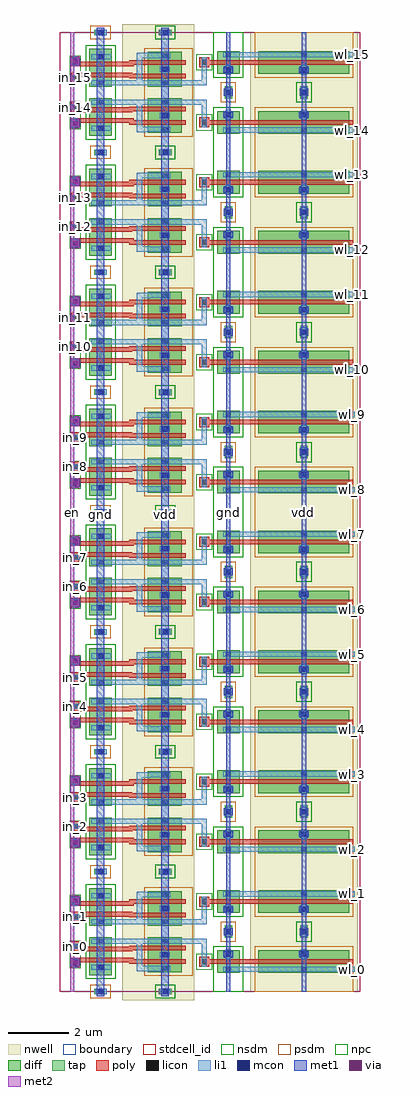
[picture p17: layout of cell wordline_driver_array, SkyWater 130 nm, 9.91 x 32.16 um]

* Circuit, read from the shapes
.subckt wordline_driver_array en gnd in_0 in_1 in_10 in_11 in_12 in_13 in_14 in_15 in_2 in_3 in_4 in_5 in_6 in_7 in_8 in_9 vdd wl_0 wl_1 wl_10 wl_11 wl_12 wl_13 wl_14 wl_15 wl_2 wl_3 wl_4 wl_5 wl_6 wl_7 wl_8 wl_9
XM1 n1 en gnd gnd sky130_fd_pr__nfet_01v8 w=0.74 l=0.15
XM2 wordline_driver_0/pinv_dec_0_1/A in_0 n1 gnd sky130_fd_pr__nfet_01v8 w=0.74 l=0.15
XM3 n2 in_1 wordline_driver_1/pinv_dec_0_1/A gnd sky130_fd_pr__nfet_01v8 w=0.74 l=0.15
XM4 gnd en n2 gnd sky130_fd_pr__nfet_01v8 w=0.74 l=0.15
XM5 n3 en gnd gnd sky130_fd_pr__nfet_01v8 w=0.74 l=0.15
XM6 wordline_driver_2/pinv_dec_0_1/A in_2 n3 gnd sky130_fd_pr__nfet_01v8 w=0.74 l=0.15
XM7 n4 in_3 wordline_driver_3/pinv_dec_0_1/A gnd sky130_fd_pr__nfet_01v8 w=0.74 l=0.15
XM8 gnd en n4 gnd sky130_fd_pr__nfet_01v8 w=0.74 l=0.15
XM9 n5 en gnd gnd sky130_fd_pr__nfet_01v8 w=0.74 l=0.15
XM10 wordline_driver_4/pinv_dec_0_1/A in_4 n5 gnd sky130_fd_pr__nfet_01v8 w=0.74 l=0.15
XM11 n6 in_5 wordline_driver_5/pinv_dec_0_1/A gnd sky130_fd_pr__nfet_01v8 w=0.74 l=0.15
XM12 gnd en n6 gnd sky130_fd_pr__nfet_01v8 w=0.74 l=0.15
XM13 n7 en gnd gnd sky130_fd_pr__nfet_01v8 w=0.74 l=0.15
XM14 wordline_driver_6/pinv_dec_0_1/A in_6 n7 gnd sky130_fd_pr__nfet_01v8 w=0.74 l=0.15
XM15 n8 in_7 wordline_driver_7/pinv_dec_0_1/A gnd sky130_fd_pr__nfet_01v8 w=0.74 l=0.15
XM16 gnd en n8 gnd sky130_fd_pr__nfet_01v8 w=0.74 l=0.15
XM17 n9 en gnd gnd sky130_fd_pr__nfet_01v8 w=0.74 l=0.15
XM18 wordline_driver_8/pinv_dec_0_1/A in_8 n9 gnd sky130_fd_pr__nfet_01v8 w=0.74 l=0.15
XM19 n10 in_9 wordline_driver_9/pinv_dec_0_1/A gnd sky130_fd_pr__nfet_01v8 w=0.74 l=0.15
XM20 gnd en n10 gnd sky130_fd_pr__nfet_01v8 w=0.74 l=0.15
XM21 n11 en gnd gnd sky130_fd_pr__nfet_01v8 w=0.74 l=0.15
XM22 wordline_driver_10/pinv_dec_0_1/A in_10 n11 gnd sky130_fd_pr__nfet_01v8 w=0.74 l=0.15
XM23 n12 in_11 wordline_driver_11/pinv_dec_0_1/A gnd sky130_fd_pr__nfet_01v8 w=0.74 l=0.15
XM24 gnd en n12 gnd sky130_fd_pr__nfet_01v8 w=0.74 l=0.15
XM25 n13 en gnd gnd sky130_fd_pr__nfet_01v8 w=0.74 l=0.15
XM26 wordline_driver_12/pinv_dec_0_1/A in_12 n13 gnd sky130_fd_pr__nfet_01v8 w=0.74 l=0.15
XM27 n14 in_13 wordline_driver_13/pinv_dec_0_1/A gnd sky130_fd_pr__nfet_01v8 w=0.74 l=0.15
XM28 gnd en n14 gnd sky130_fd_pr__nfet_01v8 w=0.74 l=0.15
XM29 n15 en gnd gnd sky130_fd_pr__nfet_01v8 w=0.74 l=0.15
XM30 wordline_driver_14/pinv_dec_0_1/A in_14 n15 gnd sky130_fd_pr__nfet_01v8 w=0.74 l=0.15
XM31 n16 in_15 wordline_driver_15/pinv_dec_0_1/A gnd sky130_fd_pr__nfet_01v8 w=0.74 l=0.15
XM32 gnd en n16 gnd sky130_fd_pr__nfet_01v8 w=0.74 l=0.15
XM33 gnd wordline_driver_0/pinv_dec_0_1/A wl_0 gnd sky130_fd_pr__nfet_01v8 w=0.74 l=0.15
XM34 wl_1 wordline_driver_1/pinv_dec_0_1/A gnd gnd sky130_fd_pr__nfet_01v8 w=0.74 l=0.15
XM35 gnd wordline_driver_2/pinv_dec_0_1/A wl_2 gnd sky130_fd_pr__nfet_01v8 w=0.74 l=0.15
XM36 wl_3 wordline_driver_3/pinv_dec_0_1/A gnd gnd sky130_fd_pr__nfet_01v8 w=0.74 l=0.15
XM37 gnd wordline_driver_4/pinv_dec_0_1/A wl_4 gnd sky130_fd_pr__nfet_01v8 w=0.74 l=0.15
XM38 wl_5 wordline_driver_5/pinv_dec_0_1/A gnd gnd sky130_fd_pr__nfet_01v8 w=0.74 l=0.15
XM39 gnd wordline_driver_6/pinv_dec_0_1/A wl_6 gnd sky130_fd_pr__nfet_01v8 w=0.74 l=0.15
XM40 wl_7 wordline_driver_7/pinv_dec_0_1/A gnd gnd sky130_fd_pr__nfet_01v8 w=0.74 l=0.15
XM41 gnd wordline_driver_8/pinv_dec_0_1/A wl_8 gnd sky130_fd_pr__nfet_01v8 w=0.74 l=0.15
XM42 wl_9 wordline_driver_9/pinv_dec_0_1/A gnd gnd sky130_fd_pr__nfet_01v8 w=0.74 l=0.15
XM43 gnd wordline_driver_10/pinv_dec_0_1/A wl_10 gnd sky130_fd_pr__nfet_01v8 w=0.74 l=0.15
XM44 wl_11 wordline_driver_11/pinv_dec_0_1/A gnd gnd sky130_fd_pr__nfet_01v8 w=0.74 l=0.15
XM45 gnd wordline_driver_12/pinv_dec_0_1/A wl_12 gnd sky130_fd_pr__nfet_01v8 w=0.74 l=0.15
XM46 wl_13 wordline_driver_13/pinv_dec_0_1/A gnd gnd sky130_fd_pr__nfet_01v8 w=0.74 l=0.15
XM47 gnd wordline_driver_14/pinv_dec_0_1/A wl_14 gnd sky130_fd_pr__nfet_01v8 w=0.74 l=0.15
XM48 wl_15 wordline_driver_15/pinv_dec_0_1/A gnd gnd sky130_fd_pr__nfet_01v8 w=0.74 l=0.15
XM49 vdd en wordline_driver_0/pinv_dec_0_1/A vdd sky130_fd_pr__pfet_01v8 w=1.12 l=0.15
XM50 wordline_driver_0/pinv_dec_0_1/A in_0 vdd vdd sky130_fd_pr__pfet_01v8 w=1.12 l=0.15
XM51 vdd in_1 wordline_driver_1/pinv_dec_0_1/A vdd sky130_fd_pr__pfet_01v8 w=1.12 l=0.15
XM52 wordline_driver_1/pinv_dec_0_1/A en vdd vdd sky130_fd_pr__pfet_01v8 w=1.12 l=0.15
XM53 vdd en wordline_driver_2/pinv_dec_0_1/A vdd sky130_fd_pr__pfet_01v8 w=1.12 l=0.15
XM54 wordline_driver_2/pinv_dec_0_1/A in_2 vdd vdd sky130_fd_pr__pfet_01v8 w=1.12 l=0.15
XM55 vdd in_3 wordline_driver_3/pinv_dec_0_1/A vdd sky130_fd_pr__pfet_01v8 w=1.12 l=0.15
XM56 wordline_driver_3/pinv_dec_0_1/A en vdd vdd sky130_fd_pr__pfet_01v8 w=1.12 l=0.15
XM57 vdd en wordline_driver_4/pinv_dec_0_1/A vdd sky130_fd_pr__pfet_01v8 w=1.12 l=0.15
XM58 wordline_driver_4/pinv_dec_0_1/A in_4 vdd vdd sky130_fd_pr__pfet_01v8 w=1.12 l=0.15
XM59 vdd in_5 wordline_driver_5/pinv_dec_0_1/A vdd sky130_fd_pr__pfet_01v8 w=1.12 l=0.15
XM60 wordline_driver_5/pinv_dec_0_1/A en vdd vdd sky130_fd_pr__pfet_01v8 w=1.12 l=0.15
XM61 vdd en wordline_driver_6/pinv_dec_0_1/A vdd sky130_fd_pr__pfet_01v8 w=1.12 l=0.15
XM62 wordline_driver_6/pinv_dec_0_1/A in_6 vdd vdd sky130_fd_pr__pfet_01v8 w=1.12 l=0.15
XM63 vdd in_7 wordline_driver_7/pinv_dec_0_1/A vdd sky130_fd_pr__pfet_01v8 w=1.12 l=0.15
XM64 wordline_driver_7/pinv_dec_0_1/A en vdd vdd sky130_fd_pr__pfet_01v8 w=1.12 l=0.15
XM65 vdd en wordline_driver_8/pinv_dec_0_1/A vdd sky130_fd_pr__pfet_01v8 w=1.12 l=0.15
XM66 wordline_driver_8/pinv_dec_0_1/A in_8 vdd vdd sky130_fd_pr__pfet_01v8 w=1.12 l=0.15
XM67 vdd in_9 wordline_driver_9/pinv_dec_0_1/A vdd sky130_fd_pr__pfet_01v8 w=1.12 l=0.15
XM68 wordline_driver_9/pinv_dec_0_1/A en vdd vdd sky130_fd_pr__pfet_01v8 w=1.12 l=0.15
XM69 vdd en wordline_driver_10/pinv_dec_0_1/A vdd sky130_fd_pr__pfet_01v8 w=1.12 l=0.15
XM70 wordline_driver_10/pinv_dec_0_1/A in_10 vdd vdd sky130_fd_pr__pfet_01v8 w=1.12 l=0.15
XM71 vdd in_11 wordline_driver_11/pinv_dec_0_1/A vdd sky130_fd_pr__pfet_01v8 w=1.12 l=0.15
XM72 wordline_driver_11/pinv_dec_0_1/A en vdd vdd sky130_fd_pr__pfet_01v8 w=1.12 l=0.15
XM73 vdd en wordline_driver_12/pinv_dec_0_1/A vdd sky130_fd_pr__pfet_01v8 w=1.12 l=0.15
XM74 wordline_driver_12/pinv_dec_0_1/A in_12 vdd vdd sky130_fd_pr__pfet_01v8 w=1.12 l=0.15
XM75 vdd in_13 wordline_driver_13/pinv_dec_0_1/A vdd sky130_fd_pr__pfet_01v8 w=1.12 l=0.15
XM76 wordline_driver_13/pinv_dec_0_1/A en vdd vdd sky130_fd_pr__pfet_01v8 w=1.12 l=0.15
XM77 vdd en wordline_driver_14/pinv_dec_0_1/A vdd sky130_fd_pr__pfet_01v8 w=1.12 l=0.15
XM78 wordline_driver_14/pinv_dec_0_1/A in_14 vdd vdd sky130_fd_pr__pfet_01v8 w=1.12 l=0.15
XM79 vdd in_15 wordline_driver_15/pinv_dec_0_1/A vdd sky130_fd_pr__pfet_01v8 w=1.12 l=0.15
XM80 wordline_driver_15/pinv_dec_0_1/A en vdd vdd sky130_fd_pr__pfet_01v8 w=1.12 l=0.15
XM81 vdd wordline_driver_0/pinv_dec_0_1/A wl_0 vdd sky130_fd_pr__pfet_01v8 w=3 l=0.15
XM82 wl_1 wordline_driver_1/pinv_dec_0_1/A vdd vdd sky130_fd_pr__pfet_01v8 w=3 l=0.15
XM83 vdd wordline_driver_2/pinv_dec_0_1/A wl_2 vdd sky130_fd_pr__pfet_01v8 w=3 l=0.15
XM84 wl_3 wordline_driver_3/pinv_dec_0_1/A vdd vdd sky130_fd_pr__pfet_01v8 w=3 l=0.15
XM85 vdd wordline_driver_4/pinv_dec_0_1/A wl_4 vdd sky130_fd_pr__pfet_01v8 w=3 l=0.15
XM86 wl_5 wordline_driver_5/pinv_dec_0_1/A vdd vdd sky130_fd_pr__pfet_01v8 w=3 l=0.15
XM87 vdd wordline_driver_6/pinv_dec_0_1/A wl_6 vdd sky130_fd_pr__pfet_01v8 w=3 l=0.15
XM88 wl_7 wordline_driver_7/pinv_dec_0_1/A vdd vdd sky130_fd_pr__pfet_01v8 w=3 l=0.15
XM89 vdd wordline_driver_8/pinv_dec_0_1/A wl_8 vdd sky130_fd_pr__pfet_01v8 w=3 l=0.15
XM90 wl_9 wordline_driver_9/pinv_dec_0_1/A vdd vdd sky130_fd_pr__pfet_01v8 w=3 l=0.15
XM91 vdd wordline_driver_10/pinv_dec_0_1/A wl_10 vdd sky130_fd_pr__pfet_01v8 w=3 l=0.15
XM92 wl_11 wordline_driver_11/pinv_dec_0_1/A vdd vdd sky130_fd_pr__pfet_01v8 w=3 l=0.15
XM93 vdd wordline_driver_12/pinv_dec_0_1/A wl_12 vdd sky130_fd_pr__pfet_01v8 w=3 l=0.15
XM94 wl_13 wordline_driver_13/pinv_dec_0_1/A vdd vdd sky130_fd_pr__pfet_01v8 w=3 l=0.15
XM95 vdd wordline_driver_14/pinv_dec_0_1/A wl_14 vdd sky130_fd_pr__pfet_01v8 w=3 l=0.15
XM96 wl_15 wordline_driver_15/pinv_dec_0_1/A vdd vdd sky130_fd_pr__pfet_01v8 w=3 l=0.15
.ends

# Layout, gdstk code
from math import pi, radians
import gdstk
lib = gdstk.Library(unit=1e-6, precision=1e-09)
def R(c, l, rs):  # rectangles x0, y0, x1, y1
    for r in rs: c.add(gdstk.rectangle(r[:2], r[2:], *l))
nwell = (64, 20)
diff = (65, 20)
tap = (65, 44)
poly = (66, 20)
licon = (66, 44)
li1 = (67, 20)
mcon = (67, 44)
met1 = (68, 20)
via = (68, 44)
met2 = (69, 20)
stdcell_id = (81, 4)
nsdm = (93, 44)
psdm = (94, 20)
npc = (95, 20)
boundary = (235, 4)

nand2_dec = lib.new_cell('nand2_dec')
R(nand2_dec, nwell, [(2.06,-0.28,4.44,2.38)])
R(nand2_dec, diff, [(0.98,0.54,1.72,1.78), (2.91,0.64,4.03,1.78)])
R(nand2_dec, tap, [(3.27,-0.095,3.69,0.095), (1.14,-0.09,1.56,0.09)])
R(nand2_dec, poly, [(0.38,0.79,0.65,0.97), (2.29,0.91,4.16,0.97), (0.38,0.97,4.16,1.06), (0.38,1.06,2.45,1.12), (0.38,1.33,2.39,1.36), (0.38,1.36,4.16,1.48), (0.38,1.48,0.65,1.66), (2.3,1.48,4.16,1.51)])
R(nand2_dec, licon, [(1.265,-0.085,1.435,0.085), (3.395,-0.085,3.565,0.085), (3.385,0.68,3.555,0.85), (1.295,0.71,1.465,0.88), (0.43,0.87,0.6,1.04), (3.385,1.13,3.555,1.3), (0.43,1.41,0.6,1.58), (1.285,1.57,1.455,1.74), (3.385,1.57,3.555,1.74)])
R(nand2_dec, li1, [(3.3,-0.095,3.65,0.095), (1.18,-0.09,1.56,0.09), (2.545,0.67,2.86,0.675), (2.545,0.675,3.425,0.68), (2.545,0.68,3.64,0.845), (1.04,0.71,1.7,0.88), (2.545,0.845,2.99,0.85), (3.3,0.845,3.64,0.85), (2.545,0.85,2.715,1.57), (0.35,0.87,0.68,1.04), (0.35,0.87,0.68,1.04), (3.3,1.13,3.635,1.3), (0.35,1.41,0.68,1.58), (0.35,1.41,0.68,1.58), (1.05,1.57,4.44,1.74), (1.05,1.57,4.44,1.74)])
R(nand2_dec, mcon, [(1.265,-0.085,1.435,0.085), (3.395,-0.085,3.565,0.085), (1.27,0.71,1.44,0.88), (3.385,1.13,3.555,1.3)])
R(nand2_dec, met1, [(3.35,-0.16,3.6,2.01), (3.35,-0.16,3.6,2.01), (1.23,-0.15,1.47,2.01), (1.23,-0.15,1.47,2.01)])
R(nand2_dec, nsdm, [(3.145,-0.22,3.815,0.22), (0.855,0.415,1.845,1.975)])
R(nand2_dec, psdm, [(1.015,-0.215,1.685,0.215), (2.785,0.515,4.38,1.975)])
R(nand2_dec, npc, [(0.33,0.77,0.7,1.68)])
R(nand2_dec, boundary, [(0,0,4.38,1.975)])
nand2_dec.add(gdstk.Label('B', (0.515,0.955), layer=67, texttype=20))
nand2_dec.add(gdstk.Label('A', (0.515,1.495), layer=67, texttype=20))
nand2_dec.add(gdstk.Label('Z', (4.27,1.655), layer=67, texttype=20))
nand2_dec.add(gdstk.Label('vdd', (3.48,0.47), layer=68, texttype=16))
nand2_dec.add(gdstk.Label('gnd', (1.34,0.41), layer=68, texttype=16))
nand2_dec.add(gdstk.Label('gnd', (1.35,0.93), layer=68, texttype=16))
nand2_dec.add(gdstk.Label('Z', (2.745,1.655), layer=67, texttype=16))
nand2_dec.add(gdstk.Label('vdd', (3.475,0.925), layer=68, texttype=16))
nand2_dec.add(gdstk.Label('A', (0.515,1.495), layer=67, texttype=16))
nand2_dec.add(gdstk.Label('B', (0.515,0.955), layer=67, texttype=16))

contact_11 = lib.new_cell('contact_11')
R(contact_11, nwell, [(-0.295,-0.255,0.545,0.585)])
R(contact_11, diff, [(0,0.02,0.25,0.31)])
R(contact_11, licon, [(0.04,0.08,0.21,0.25)])
R(contact_11, li1, [(0.04,0,0.21,0.33)])
R(contact_11, stdcell_id, [(-0.295,-0.255,0.545,0.585)])
R(contact_11, psdm, [(-0.125,-0.105,0.375,0.435)])
R(contact_11, boundary, [(-0.295,-0.255,0.545,0.585)])

pmos_m1_w3_000_sli_dli_d = lib.new_cell('pmos_m1_w3_000_sli_dli_da_p')
R(pmos_m1_w3_000_sli_dli_d, nwell, [(-0.27,-0.27,1.02,3.27)])
R(pmos_m1_w3_000_sli_dli_d, diff, [(0,0,0.75,3)])
R(pmos_m1_w3_000_sli_dli_d, poly, [(0.3,-0.13,0.45,3.13), (0.3,-0.13,0.45,3.13)])
R(pmos_m1_w3_000_sli_dli_d, li1, [(0.04,1.335,0.21,1.665), (0.54,1.335,0.71,1.665)])
R(pmos_m1_w3_000_sli_dli_d, stdcell_id, [(-0.27,-0.27,1.02,3.27)])
R(pmos_m1_w3_000_sli_dli_d, psdm, [(-0.125,-0.125,0.875,3.125)])
R(pmos_m1_w3_000_sli_dli_d, boundary, [(-0.27,-0.27,1.02,3.27)])
pmos_m1_w3_000_sli_dli_d.add(gdstk.Reference(contact_11, (0,1.335)))
pmos_m1_w3_000_sli_dli_d.add(gdstk.Reference(contact_11, (0.5,1.335)))
pmos_m1_w3_000_sli_dli_d.add(gdstk.Label('S', (0.125,1.5), layer=67, texttype=16))
pmos_m1_w3_000_sli_dli_d.add(gdstk.Label('G', (0.375,1.5), layer=66, texttype=16))
pmos_m1_w3_000_sli_dli_d.add(gdstk.Label('D', (0.625,1.5), layer=67, texttype=16))

contact_17 = lib.new_cell('contact_17')
R(contact_17, diff, [(0,0.02,0.25,0.31)])
R(contact_17, licon, [(0.04,0.08,0.21,0.25)])
R(contact_17, li1, [(0.04,0,0.21,0.33)])
R(contact_17, stdcell_id, [(-0.125,-0.105,0.375,0.435)])
R(contact_17, nsdm, [(-0.125,-0.105,0.375,0.435)])
R(contact_17, boundary, [(-0.125,-0.105,0.375,0.435)])

nmos_m1_w0_740_sli_dli_d = lib.new_cell('nmos_m1_w0_740_sli_dli_da_p')
R(nmos_m1_w0_740_sli_dli_d, diff, [(0,0,0.75,0.74)])
R(nmos_m1_w0_740_sli_dli_d, poly, [(0.3,-0.13,0.45,0.87), (0.3,-0.13,0.45,0.87)])
R(nmos_m1_w0_740_sli_dli_d, li1, [(0.04,0.205,0.21,0.535), (0.54,0.205,0.71,0.535)])
R(nmos_m1_w0_740_sli_dli_d, stdcell_id, [(-0.125,-0.13,0.875,0.87)])
R(nmos_m1_w0_740_sli_dli_d, nsdm, [(-0.125,-0.125,0.875,0.865)])
R(nmos_m1_w0_740_sli_dli_d, boundary, [(-0.125,-0.13,0.875,0.87)])
nmos_m1_w0_740_sli_dli_d.add(gdstk.Reference(contact_17, (0,0.205)))
nmos_m1_w0_740_sli_dli_d.add(gdstk.Reference(contact_17, (0.5,0.205)))
nmos_m1_w0_740_sli_dli_d.add(gdstk.Label('S', (0.125,0.37), layer=67, texttype=16))
nmos_m1_w0_740_sli_dli_d.add(gdstk.Label('G', (0.375,0.37), layer=66, texttype=16))
nmos_m1_w0_740_sli_dli_d.add(gdstk.Label('D', (0.625,0.37), layer=67, texttype=16))

contact_13 = lib.new_cell('contact_13')
R(contact_13, nwell, [(-0.295,-0.215,0.545,0.625)])
R(contact_13, tap, [(0,0,0.25,0.41)])
R(contact_13, licon, [(0.04,0.12,0.21,0.29)])
R(contact_13, li1, [(0.04,0.04,0.21,0.37)])
R(contact_13, stdcell_id, [(-0.295,-0.215,0.545,0.625)])
R(contact_13, nsdm, [(-0.125,-0.125,0.375,0.535)])
R(contact_13, boundary, [(-0.295,-0.215,0.545,0.625)])

contact_7 = lib.new_cell('contact_7')
R(contact_7, li1, [(0.06,0,0.23,0.33)])
R(contact_7, mcon, [(0.06,0.08,0.23,0.25)])
R(contact_7, met1, [(0,0.05,0.29,0.28)])
R(contact_7, stdcell_id, [(0,0,0.29,0.33)])
R(contact_7, boundary, [(0,0,0.29,0.33)])

contact_18 = lib.new_cell('contact_18')
R(contact_18, tap, [(0,0,0.25,0.41)])
R(contact_18, licon, [(0.04,0.12,0.21,0.29)])
R(contact_18, li1, [(0.04,0.04,0.21,0.37)])
R(contact_18, stdcell_id, [(-0.125,-0.125,0.375,0.535)])
R(contact_18, psdm, [(-0.125,-0.125,0.375,0.535)])
R(contact_18, boundary, [(-0.125,-0.125,0.375,0.535)])

contact_12 = lib.new_cell('contact_12')
R(contact_12, poly, [(0,0,0.33,0.33)])
R(contact_12, licon, [(0.08,0.08,0.25,0.25)])
R(contact_12, li1, [(0.08,0,0.25,0.33)])
R(contact_12, stdcell_id, [(-0.1,-0.1,0.43,0.43)])
R(contact_12, npc, [(-0.1,-0.1,0.43,0.43)])
R(contact_12, boundary, [(-0.1,-0.1,0.43,0.43)])

pinv_dec_0 = lib.new_cell('pinv_dec_0')
R(pinv_dec_0, nwell, [(1.9,0,5.44,2.45)])
R(pinv_dec_0, poly, [(0.385,0.91,0.68,1.06), (1.68,0.91,2.04,1.06)])
R(pinv_dec_0, li1, [(1.015,0.65,5.35,0.82), (0.3,0.82,0.47,1.15)])
R(pinv_dec_0, met1, [(1.11,0,1.25,1.975), (3.6,0,3.74,1.975)])
R(pinv_dec_0, stdcell_id, [(0,0,5.35,1.975), (0,0,5.35,1.975)])
R(pinv_dec_0, nsdm, [(0.685,0,1.675,1.36)])
R(pinv_dec_0, psdm, [(2.045,0,5.295,1.36)])
R(pinv_dec_0, boundary, [(0,0,5.35,1.975), (0,0,5.35,1.975)])
pinv_dec_0.add(gdstk.Reference(pmos_m1_w3_000_sli_dli_d, (2.17,1.36), rotation=3*pi/2))
pinv_dec_0.add(gdstk.Reference(nmos_m1_w0_740_sli_dli_d, (0.81,1.36), rotation=3*pi/2))
pinv_dec_0.add(gdstk.Reference(contact_13, (3.545,1.77)))
pinv_dec_0.add(gdstk.Reference(contact_7, (3.525,1.81)))
pinv_dec_0.add(gdstk.Reference(contact_18, (1.055,1.77)))
pinv_dec_0.add(gdstk.Reference(contact_7, (1.035,1.81)))
pinv_dec_0.add(gdstk.Reference(contact_12, (0.22,0.82)))
pinv_dec_0.add(gdstk.Reference(contact_7, (1.035,1.07)))
pinv_dec_0.add(gdstk.Reference(contact_7, (3.525,1.07)))
pinv_dec_0.add(gdstk.Label('gnd', (1.18,0.988), layer=68, texttype=16))
pinv_dec_0.add(gdstk.Label('Z', (3.182,0.735), layer=67, texttype=16))
pinv_dec_0.add(gdstk.Label('vdd', (3.67,0.988), layer=68, texttype=16))
pinv_dec_0.add(gdstk.Label('A', (0.385,0.985), layer=67, texttype=16))

wordline_driver = lib.new_cell('wordline_driver')
R(wordline_driver, li1, [(5.395,0.65,9.73,0.82), (0.35,0.87,0.68,1.04), (4.68,0.985,4.85,1.655), (0.35,1.41,0.68,1.58), (2.745,1.57,4.765,1.74), (4.68,1.57,4.85,1.74)])
R(wordline_driver, met1, [(3.35,-0.16,3.6,2.01), (1.23,-0.15,1.47,2.01), (5.49,0,5.63,1.975), (7.98,0,8.12,1.975)])
R(wordline_driver, stdcell_id, [(0,0,9.73,1.975)])
R(wordline_driver, boundary, [(0,0,9.73,1.975)])
wordline_driver.add(gdstk.Reference(nand2_dec, (0,0)))
wordline_driver.add(gdstk.Reference(pinv_dec_0, (4.38,0)))
wordline_driver.add(gdstk.Label('gnd', (1.35,0.93), layer=68, texttype=16))
wordline_driver.add(gdstk.Label('gnd', (5.56,0.988), layer=68, texttype=16))
wordline_driver.add(gdstk.Label('Z', (7.562,0.735), layer=67, texttype=16))
wordline_driver.add(gdstk.Label('vdd', (8.05,0.988), layer=68, texttype=16))
wordline_driver.add(gdstk.Label('vdd', (3.475,0.925), layer=68, texttype=16))
wordline_driver.add(gdstk.Label('A', (0.515,1.495), layer=67, texttype=16))
wordline_driver.add(gdstk.Label('B', (0.515,0.955), layer=67, texttype=16))

contact_8 = lib.new_cell('contact_8')
R(contact_8, met1, [(0,0.03,0.32,0.29)])
R(contact_8, via, [(0.085,0.085,0.235,0.235)])
R(contact_8, met2, [(0.03,0,0.29,0.32)])
R(contact_8, stdcell_id, [(0,0,0.32,0.32)])
R(contact_8, boundary, [(0,0,0.32,0.32)])

wordline_driver_array = lib.new_cell('wordline_driver_array')
R(wordline_driver_array, li1, [(9.59,0.65,9.73,0.82), (0.35,1.41,0.68,1.58), (0.35,2.37,0.68,2.54), (9.59,3.13,9.73,3.3), (9.59,4.6,9.73,4.77), (0.35,5.36,0.68,5.53), (0.35,6.32,0.68,6.49), (9.59,7.08,9.73,7.25), (9.59,8.55,9.73,8.72), (0.35,9.31,0.68,9.48), (0.35,10.27,0.68,10.44), (9.59,11.03,9.73,11.2), (9.59,12.5,9.73,12.67), (0.35,13.26,0.68,13.43), (0.35,14.22,0.68,14.39), (9.59,14.98,9.73,15.15), (9.59,16.45,9.73,16.62), (0.35,17.21,0.68,17.38), (0.35,18.17,0.68,18.34), (9.59,18.93,9.73,19.1), (9.59,20.4,9.73,20.57), (0.35,21.16,0.68,21.33), (0.35,22.12,0.68,22.29), (9.59,22.88,9.73,23.05), (9.59,24.35,9.73,24.52), (0.35,25.11,0.68,25.28), (0.35,26.07,0.68,26.24), (9.59,26.83,9.73,27), (9.59,28.3,9.73,28.47), (0.35,29.06,0.68,29.23), (0.35,30.02,0.68,30.19), (9.59,30.78,9.73,30.95)])
R(wordline_driver_array, met1, [(3.405,-0.16,3.545,31.6), (1.28,-0.15,1.42,31.6), (5.49,0,5.63,31.6), (7.98,0,8.12,31.6), (0.355,0.825,0.675,1.085), (0.355,2.865,0.675,3.125), (0.355,4.775,0.675,5.035), (0.355,6.815,0.675,7.075), (0.355,8.725,0.675,8.985), (0.355,10.765,0.675,11.025), (0.355,12.675,0.675,12.935), (0.355,14.715,0.675,14.975), (0.355,16.625,0.675,16.885), (0.355,18.665,0.675,18.925), (0.355,20.575,0.675,20.835), (0.355,22.615,0.675,22.875), (0.355,24.525,0.675,24.785), (0.355,26.565,0.675,26.825), (0.355,28.475,0.675,28.735), (0.355,30.515,0.675,30.775)])
R(wordline_driver_array, met2, [(0.35,0,0.49,31.6)])
R(wordline_driver_array, stdcell_id, [(0,0,9.91,31.6)])
R(wordline_driver_array, boundary, [(0,0,9.91,31.6)])
wordline_driver_array.add(gdstk.Reference(wordline_driver, (0,0)))
wordline_driver_array.add(gdstk.Reference(wordline_driver, (0,3.95), x_reflection=True))
wordline_driver_array.add(gdstk.Reference(wordline_driver, (0,3.95)))
wordline_driver_array.add(gdstk.Reference(wordline_driver, (0,7.9), x_reflection=True))
wordline_driver_array.add(gdstk.Reference(wordline_driver, (0,7.9)))
wordline_driver_array.add(gdstk.Reference(wordline_driver, (0,11.85), x_reflection=True))
wordline_driver_array.add(gdstk.Reference(wordline_driver, (0,11.85)))
wordline_driver_array.add(gdstk.Reference(wordline_driver, (0,15.8), x_reflection=True))
wordline_driver_array.add(gdstk.Reference(wordline_driver, (0,15.8)))
wordline_driver_array.add(gdstk.Reference(wordline_driver, (0,19.75), x_reflection=True))
wordline_driver_array.add(gdstk.Reference(wordline_driver, (0,19.75)))
wordline_driver_array.add(gdstk.Reference(wordline_driver, (0,23.7), x_reflection=True))
wordline_driver_array.add(gdstk.Reference(wordline_driver, (0,23.7)))
wordline_driver_array.add(gdstk.Reference(wordline_driver, (0,27.65), x_reflection=True))
wordline_driver_array.add(gdstk.Reference(wordline_driver, (0,27.65)))
wordline_driver_array.add(gdstk.Reference(wordline_driver, (0,31.6), x_reflection=True))
wordline_driver_array.add(gdstk.Reference(contact_7, (0.37,0.79)))
wordline_driver_array.add(gdstk.Reference(contact_8, (0.355,0.795)))
wordline_driver_array.add(gdstk.Reference(contact_7, (0.37,2.83)))
wordline_driver_array.add(gdstk.Reference(contact_8, (0.355,2.835)))
wordline_driver_array.add(gdstk.Reference(contact_7, (0.37,4.74)))
wordline_driver_array.add(gdstk.Reference(contact_8, (0.355,4.745)))
wordline_driver_array.add(gdstk.Reference(contact_7, (0.37,6.78)))
wordline_driver_array.add(gdstk.Reference(contact_8, (0.355,6.785)))
wordline_driver_array.add(gdstk.Reference(contact_7, (0.37,8.69)))
wordline_driver_array.add(gdstk.Reference(contact_8, (0.355,8.695)))
wordline_driver_array.add(gdstk.Reference(contact_7, (0.37,10.73)))
wordline_driver_array.add(gdstk.Reference(contact_8, (0.355,10.735)))
wordline_driver_array.add(gdstk.Reference(contact_7, (0.37,12.64)))
wordline_driver_array.add(gdstk.Reference(contact_8, (0.355,12.645)))
wordline_driver_array.add(gdstk.Reference(contact_7, (0.37,14.68)))
wordline_driver_array.add(gdstk.Reference(contact_8, (0.355,14.685)))
wordline_driver_array.add(gdstk.Reference(contact_7, (0.37,16.59)))
wordline_driver_array.add(gdstk.Reference(contact_8, (0.355,16.595)))
wordline_driver_array.add(gdstk.Reference(contact_7, (0.37,18.63)))
wordline_driver_array.add(gdstk.Reference(contact_8, (0.355,18.635)))
wordline_driver_array.add(gdstk.Reference(contact_7, (0.37,20.54)))
wordline_driver_array.add(gdstk.Reference(contact_8, (0.355,20.545)))
wordline_driver_array.add(gdstk.Reference(contact_7, (0.37,22.58)))
wordline_driver_array.add(gdstk.Reference(contact_8, (0.355,22.585)))
wordline_driver_array.add(gdstk.Reference(contact_7, (0.37,24.49)))
wordline_driver_array.add(gdstk.Reference(contact_8, (0.355,24.495)))
wordline_driver_array.add(gdstk.Reference(contact_7, (0.37,26.53)))
wordline_driver_array.add(gdstk.Reference(contact_8, (0.355,26.535)))
wordline_driver_array.add(gdstk.Reference(contact_7, (0.37,28.44)))
wordline_driver_array.add(gdstk.Reference(contact_8, (0.355,28.445)))
wordline_driver_array.add(gdstk.Reference(contact_7, (0.37,30.48)))
wordline_driver_array.add(gdstk.Reference(contact_8, (0.355,30.485)))
wordline_driver_array.add(gdstk.Label('wl_6', (9.66,12.585), layer=67, texttype=16))
wordline_driver_array.add(gdstk.Label('wl_12', (9.66,24.435), layer=67, texttype=16))
wordline_driver_array.add(gdstk.Label('wl_2', (9.66,4.685), layer=67, texttype=16))
wordline_driver_array.add(gdstk.Label('wl_3', (9.66,7.165), layer=67, texttype=16))
wordline_driver_array.add(gdstk.Label('in_3', (0.515,6.405), layer=67, texttype=16))
wordline_driver_array.add(gdstk.Label('wl_10', (9.66,20.485), layer=67, texttype=16))
wordline_driver_array.add(gdstk.Label('vdd', (8.05,15.8), layer=68, texttype=16))
wordline_driver_array.add(gdstk.Label('vdd', (3.475,15.72), layer=68, texttype=16))
wordline_driver_array.add(gdstk.Label('in_0', (0.515,1.495), layer=67, texttype=16))
wordline_driver_array.add(gdstk.Label('wl_1', (9.66,3.215), layer=67, texttype=16))
wordline_driver_array.add(gdstk.Label('wl_11', (9.66,22.965), layer=67, texttype=16))
wordline_driver_array.add(gdstk.Label('in_7', (0.515,14.305), layer=67, texttype=16))
wordline_driver_array.add(gdstk.Label('wl_15', (9.66,30.865), layer=67, texttype=16))
wordline_driver_array.add(gdstk.Label('in_11', (0.515,22.205), layer=67, texttype=16))
wordline_driver_array.add(gdstk.Label('in_13', (0.515,26.155), layer=67, texttype=16))
wordline_driver_array.add(gdstk.Label('wl_4', (9.66,8.635), layer=67, texttype=16))
wordline_driver_array.add(gdstk.Label('in_14', (0.515,29.145), layer=67, texttype=16))
wordline_driver_array.add(gdstk.Label('wl_0', (9.66,0.735), layer=67, texttype=16))
wordline_driver_array.add(gdstk.Label('wl_7', (9.66,15.065), layer=67, texttype=16))
wordline_driver_array.add(gdstk.Label('wl_5', (9.66,11.115), layer=67, texttype=16))
wordline_driver_array.add(gdstk.Label('en', (0.42,15.8), layer=69, texttype=16))
wordline_driver_array.add(gdstk.Label('wl_13', (9.66,26.915), layer=67, texttype=16))
wordline_driver_array.add(gdstk.Label('in_12', (0.515,25.195), layer=67, texttype=16))
wordline_driver_array.add(gdstk.Label('wl_9', (9.66,19.015), layer=67, texttype=16))
wordline_driver_array.add(gdstk.Label('in_4', (0.515,9.395), layer=67, texttype=16))
wordline_driver_array.add(gdstk.Label('in_2', (0.515,5.445), layer=67, texttype=16))
wordline_driver_array.add(gdstk.Label('in_15', (0.515,30.105), layer=67, texttype=16))
wordline_driver_array.add(gdstk.Label('wl_8', (9.66,16.535), layer=67, texttype=16))
wordline_driver_array.add(gdstk.Label('in_6', (0.515,13.345), layer=67, texttype=16))
wordline_driver_array.add(gdstk.Label('wl_14', (9.66,28.385), layer=67, texttype=16))
wordline_driver_array.add(gdstk.Label('in_5', (0.515,10.355), layer=67, texttype=16))
wordline_driver_array.add(gdstk.Label('in_8', (0.515,17.295), layer=67, texttype=16))
wordline_driver_array.add(gdstk.Label('in_1', (0.515,2.455), layer=67, texttype=16))
wordline_driver_array.add(gdstk.Label('in_9', (0.515,18.255), layer=67, texttype=16))
wordline_driver_array.add(gdstk.Label('gnd', (1.35,15.725), layer=68, texttype=16))
wordline_driver_array.add(gdstk.Label('gnd', (5.56,15.8), layer=68, texttype=16))
wordline_driver_array.add(gdstk.Label('in_10', (0.515,21.245), layer=67, texttype=16))

lib.write_gds('wordline_driver_array.gds')
